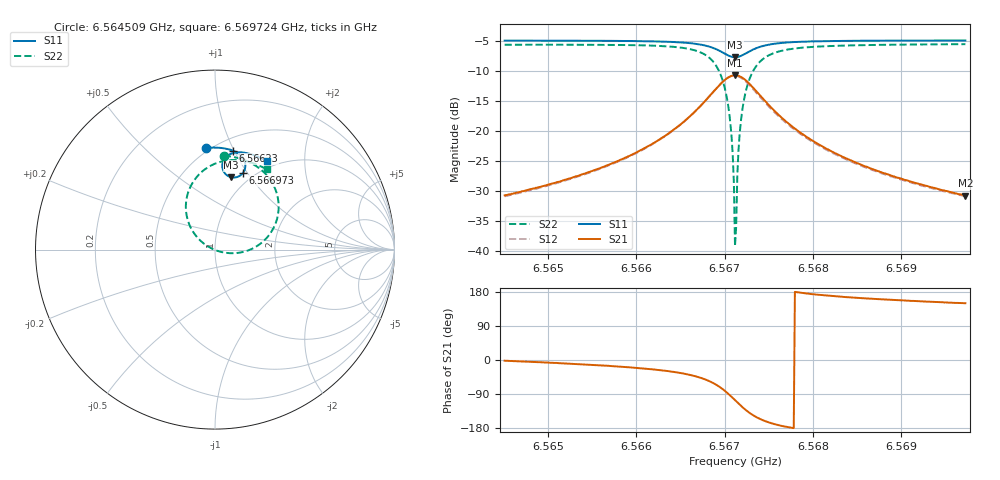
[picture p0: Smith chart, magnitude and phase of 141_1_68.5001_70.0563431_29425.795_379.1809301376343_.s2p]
#  HZ  S  RI  R  50.00
! Rohde & Schwarz Vector Network Analyzer
! Rohde-Schwarz,ZNB20-2Port,1311601062101988,3.16
! Created: UTC 3/20/2024, 5:10:01 PM
! freq[Hz]  re:S11  im:S11  re:S21  im:S21  re:S12  im:S12  re:S22  im:S22
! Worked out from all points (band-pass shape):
!   401 points, 6.564509 GHz to 6.569724 GHz, reference 50 ohm
!   highest |S21| = -10.67 dB at 6.567117 GHz (marker M1); lowest = -30.7 dB at 6.569724 GHz (marker M2)
!   |S21| within 3 dB of the highest: 6.566858 GHz to 6.567378 GHz (520.8 kHz wide, 0.00793 % of centre)
!   lowest |S11| = -7.7 dB at 6.567117 GHz (marker M3), VSWR 2.41, Z = 41.9 + j40.7 ohm
!   |S11| at or under -10 dB: nowhere
!   |S22| runs from -39.2 to -5.5 dB; largest |S21 - S12| = 0.014
!   S11 on the Smith chart (normalised r, x): 6.564509 GHz: 0.47, +0.79; 6.56623 GHz: 0.62, +0.99; 6.566973 GHz: 0.89, +0.96; 6.569724 GHz: 0.90, +1.32
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6.5645094e9  -0.0512 0.5668  0.0292 -0.000886  0.0287 -0.00139  0.0491 0.5236
6.5653829e9  0.021 0.5674  0.0427 -0.00864  0.042 -0.0092  0.1336 0.5085
6.5662303e9  0.1019 0.5508  0.0743 -0.0358  0.0732 -0.0368  0.2494 0.451
6.5662564e9  0.1046 0.5497  0.076 -0.0378  0.0748 -0.0387  0.2542 0.4472
6.5665563e9  0.1402 0.5282  0.0988 -0.0739  0.0973 -0.0754  0.316 0.3761
6.5667649e9  0.1644 0.4942  0.112 -0.1332  0.1093 -0.1359  0.3538 0.2618
6.5668822e9  0.1688 0.4603  0.101 -0.1924  0.0961 -0.196  0.3388 0.149
6.5669735e9  0.156 0.4275  0.0615 -0.2487  0.0529 -0.2516  0.2667 0.044
6.5670517e9  0.1258 0.4052  -0.00722 -0.2836  -0.019 -0.283  0.1403 -0.0166
6.5670778e9  0.1122 0.402  -0.0358 -0.2871  -0.0485 -0.2843  0.0881 -0.0204
6.5671039e9  0.0979 0.4019  -0.0657 -0.2848  -0.0782 -0.2799  0.0352 -0.0134
6.5671169e9  0.0908 0.4031  -0.0803 -0.2814  -0.0927 -0.2754  0.00947 -0.00565
6.5671299e9  0.0839 0.405  -0.0947 -0.2767  -0.1067 -0.2694  -0.0152 0.00462
6.567143e9  0.0773 0.4078  -0.1085 -0.2706  -0.1197 -0.2622  -0.0387 0.0173
6.5671691e9  0.0652 0.4152  -0.1334 -0.2546  -0.1431 -0.2445  -0.0802 0.0488
6.5671951e9  0.0554 0.4247  -0.1538 -0.2348  -0.1616 -0.2236  -0.1133 0.0862
6.5672473e9  0.0434 0.447  -0.1806 -0.1902  -0.1846 -0.1782  -0.1527 0.1679
6.5673125e9  0.0409 0.4744  -0.1908 -0.1366  -0.1909 -0.126  -0.1612 0.2623
6.5675602e9  0.0794 0.5297  -0.1461 -0.0282  -0.1428 -0.024  -0.0591 0.4452
6.5679904e9  0.1427 0.5422  -0.0833 0.00907  -0.0813 0.0104  0.0806 0.4979
6.568864e9  0.2256 0.5225  -0.0404 0.0156  -0.0394 0.0158  0.2116 0.4813
6.5697244e9  0.2898 0.4918  -0.0251 0.0146  -0.0246 0.0148  0.2888 0.4464
